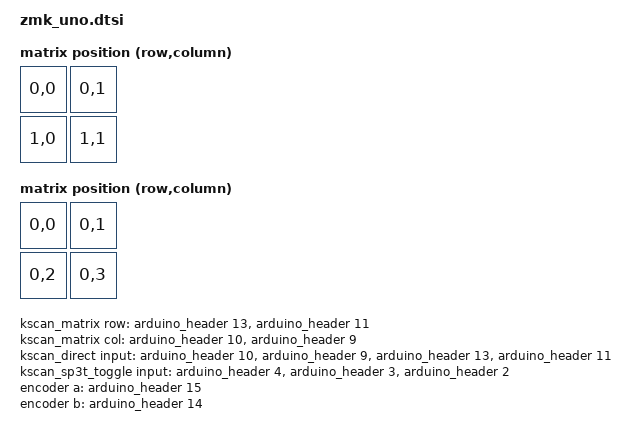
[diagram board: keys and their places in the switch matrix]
/*
 * Copyright (c) 2022 The ZMK Contributors
 *
 * SPDX-License-Identifier: MIT
 */

#include <dt-bindings/led/led.h>
#include <dt-bindings/zmk/matrix_transform.h>
#include "zmk_uno-layouts.dtsi"


&lpi2c0 {
    status = "okay";
};

nice_view_spi: &lpspi0 {
    status = "okay";

    cs-gpios = <&arduino_header 16 GPIO_ACTIVE_HIGH>;

    // Needed so the nice_view shield will enhance the existing node which falls *first*
    // on the bus, properly picking up the first `cs-gpios` specifier.
    ls0xx@0 {
        reg = <0>;
    };

    led_strip: ws2812@0 {
        compatible = "worldsemi,ws2812-spi";

        /* SPI */
        reg = <0>; /* ignored, but necessary for SPI bindings */
        spi-max-frequency = <4000000>;

        /* WS2812 */
        chain-length = <7>; /* 4 underglow + 3 per-key LEDs */
        spi-one-frame = <0x70>;
        spi-zero-frame = <0x40>;

        color-mapping = <LED_COLOR_ID_GREEN LED_COLOR_ID_RED LED_COLOR_ID_BLUE>;
    };
};

/ {
    chosen {
        zmk,backlight = &backlight;
        zmk,underglow = &led_strip;
    };

    // Commented out until we add more powerful power domain support
    // external_power {
        //  compatible = "zmk,ext-power-generic";
        //  init-delay-ms = <200>;
        //  control-gpios = <&arduino_header 1 GPIO_ACTIVE_LOW>;
    // };

    rgb_power {
        compatible = "zmk,ext-power-generic";
        init-delay-ms = <200>;
        control-gpios = <&arduino_header 1 GPIO_ACTIVE_LOW>;
    };

    backlight: gpioleds {
        compatible = "gpio-leds";
        gpio_led_0 {
            gpios = <&arduino_header 12 GPIO_ACTIVE_HIGH>;
        };
    };

    matrix_transform: matrix_transform {
        compatible = "zmk,matrix-transform";
        rows = <3>;
        columns = <4>;

        map = <
        RC(0,0) RC(0,1)
        RC(1,0) RC(1,1)
        >;
    };

    direct_matrix_transform: direct_matrix_transform {
        compatible = "zmk,matrix-transform";
        rows = <3>;
        columns = <4>;

        map = <
        RC(0,0) RC(0,1)
        RC(0,2) RC(0,3)
        >;
    };

    kscan_matrix: kscan_matrix {
        compatible = "zmk,kscan-gpio-matrix";
        wakeup-source;

        diode-direction = "col2row";

        col-gpios
        = <&arduino_header 10 GPIO_ACTIVE_HIGH>
        , <&arduino_header 9  GPIO_ACTIVE_HIGH>
        ;

        row-gpios
        = <&arduino_header 13 (GPIO_ACTIVE_HIGH | GPIO_PULL_DOWN)>
        , <&arduino_header 11 (GPIO_ACTIVE_HIGH | GPIO_PULL_DOWN)>
        ;

    };

    kscan_direct: kscan_direct {
        compatible = "zmk,kscan-gpio-direct";
        wakeup-source;

        input-gpios
        = <&arduino_header 10 (GPIO_ACTIVE_LOW | GPIO_PULL_UP)>
        , <&arduino_header 9  (GPIO_ACTIVE_LOW | GPIO_PULL_UP)>
        , <&arduino_header 13 (GPIO_ACTIVE_LOW | GPIO_PULL_UP)>
        , <&arduino_header 11 (GPIO_ACTIVE_LOW | GPIO_PULL_UP)>
        ;

    };

    kscan_sp3t_toggle: kscan_sp3t_toggle {
        compatible = "zmk,kscan-gpio-direct";
        toggle-mode;

        input-gpios
        = <&arduino_header 4 GPIO_ACTIVE_LOW>
        , <&arduino_header 3 GPIO_ACTIVE_LOW>
        , <&arduino_header 2 GPIO_ACTIVE_LOW>
        ;
    };

    encoder: encoder {
        steps = <80>;
        compatible = "alps,ec11";
        a-gpios = <&arduino_header 15 GPIO_PULL_UP>;
        b-gpios = <&arduino_header 14 GPIO_PULL_UP>;
    };
    
    arduino_header: connector {
    compatible = "arduino-header-r3";
    #gpio-cells = <2>;
    gpio-map-mask = <0xffffffff 0xffffffc0>;
    gpio-map-pass-thru = <0 0x3f>;

    gpio-map =
        /* digital */
        <0 &gpio3 6 0>,   /* D0  = P3_6 */
        <1 &gpio3 7 0>,   /* D1  = P3_7 */
        <2 &gpio3 8 0>,   /* D2  = P3_8 */
        <3 &gpio3 9 0>,   /* D3  = P3_9 */
        <4 &gpio3 10 0>,  /* D4  = P3_10 */
        <5 &gpio3 11 0>,  /* D5  = P3_11 */
        <6 &gpio3 31 0>,  /* D6  = P3_31 */
        <7 &gpio2 7 0>,   /* D7  = P2_7 */
        <8 &gpio2 8 0>,   /* D8  = P2_8 */
        <9 &gpio2 9 0>,   /* D9  = P2_9 */
        <10 &gpio2 10 0>, /* D10 = P2_10 */
        <11 &gpio2 11 0>, /* D11 = P2_11 */
        <12 &gpio2 12 0>, /* D12 = P2_12 */
        <13 &gpio2 13 0>, /* D13 = P2_13 */
        <14 &gpio2 14 0>, /* A0 = P2_14 */
        <15 &gpio2 15 0>, /* A1 = P2_15 */
        <16 &gpio2 16 0>; /* A2 = P2_16 */
};

    
};

&matrix_physical_layout {
    kscan = <&kscan_matrix>;
    transform = <&matrix_transform>;
};

&direct_physical_layout {
    kscan = <&kscan_direct>;
    transform = <&direct_matrix_transform>;
};
